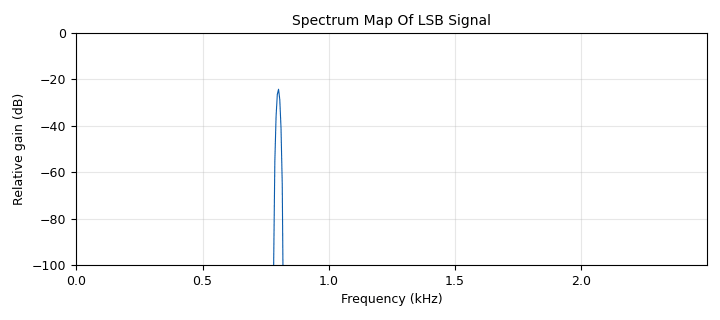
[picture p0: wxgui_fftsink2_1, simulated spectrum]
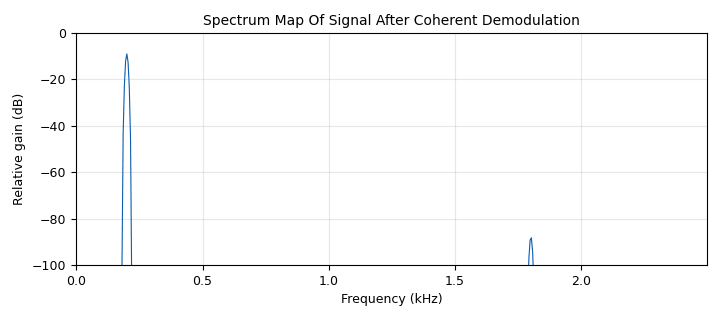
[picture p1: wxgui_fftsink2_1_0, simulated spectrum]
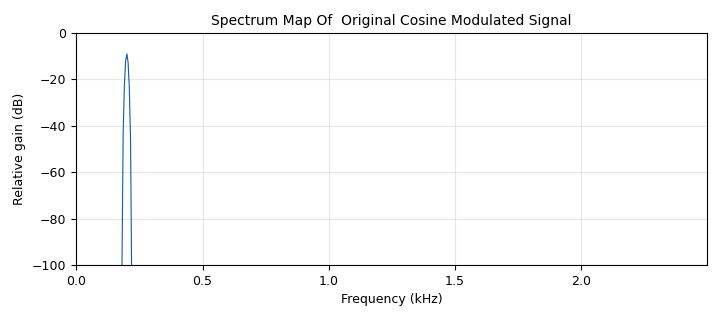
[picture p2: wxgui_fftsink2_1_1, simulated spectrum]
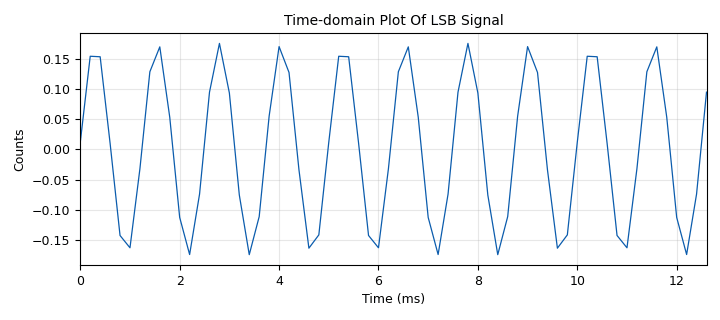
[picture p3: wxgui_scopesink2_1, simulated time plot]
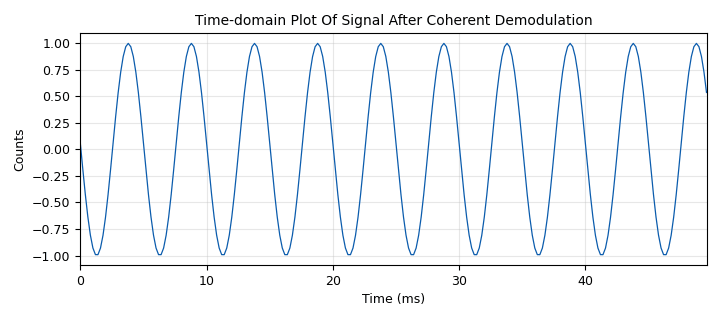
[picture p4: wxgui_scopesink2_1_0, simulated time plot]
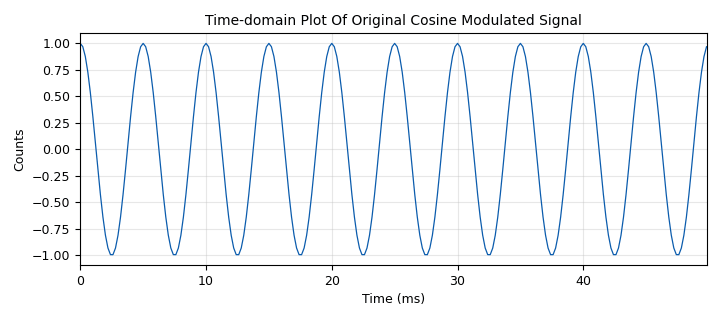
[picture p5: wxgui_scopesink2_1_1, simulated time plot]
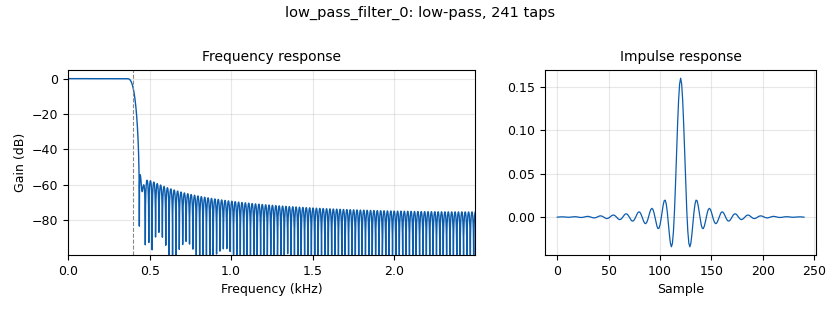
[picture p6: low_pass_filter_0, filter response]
<?xml version='1.0' encoding='utf-8'?>
<?grc format='1' created='3.7.9'?>
<flow_graph>
<block>
<key>options</key>
<param><key>id</key><value>LSB</value></param>
<param><key>category</key><value>Custom</value></param>
<param><key>generate_options</key><value>wx_gui</value></param>
</block>
<block>
<key>variable_slider</key>
<param><key>id</key><value>ac</value></param>
<param><key>converver</key><value>float_converter</value></param>
<param><key>value</key><value>0.35</value></param>
<param><key>label</key><value></value></param>
<param><key>max</key><value>1</value></param>
<param><key>min</key><value>0</value></param>
<param><key>num_steps</key><value>1000</value></param>
<param><key>style</key><value>wx.SL_HORIZONTAL</value></param>
</block>
<block>
<key>variable</key>
<param><key>id</key><value>samp_rate</value></param>
<param><key>value</key><value>5000</value></param>
</block>
<block>
<key>analog_sig_source_x</key>
<param><key>id</key><value>Hilbert</value></param>
<param><key>amp</key><value>1</value></param>
<param><key>freq</key><value>200</value></param>
<param><key>offset</key><value>0</value></param>
<param><key>type</key><value>float</value></param>
<param><key>samp_rate</key><value>samp_rate</value></param>
<param><key>waveform</key><value>analog.GR_SIN_WAVE</value></param>
</block>
<block>
<key>blocks_add_xx</key>
<param><key>id</key><value>blocks_add_xx_0</value></param>
<param><key>type</key><value>float</value></param>
</block>
<block>
<key>blocks_multiply_const_vxx</key>
<param><key>id</key><value>blocks_multiply_const_vxx_0</value></param>
<param><key>const</key><value>0.5</value></param>
<param><key>type</key><value>float</value></param>
</block>
<block>
<key>blocks_multiply_const_vxx</key>
<param><key>id</key><value>blocks_multiply_const_vxx_0_0</value></param>
<param><key>const</key><value>0.5</value></param>
<param><key>type</key><value>float</value></param>
</block>
<block>
<key>blocks_multiply_const_vxx</key>
<param><key>id</key><value>blocks_multiply_const_vxx_1</value></param>
<param><key>const</key><value>ac</value></param>
<param><key>type</key><value>float</value></param>
</block>
<block>
<key>blocks_multiply_const_vxx</key>
<param><key>id</key><value>blocks_multiply_const_vxx_1_0</value></param>
<param><key>const</key><value>ac</value></param>
<param><key>type</key><value>float</value></param>
</block>
<block>
<key>blocks_multiply_const_vxx</key>
<param><key>id</key><value>blocks_multiply_const_vxx_1_1</value></param>
<param><key>const</key><value>4</value></param>
<param><key>type</key><value>float</value></param>
</block>
<block>
<key>blocks_multiply_const_vxx</key>
<param><key>id</key><value>blocks_multiply_const_vxx_1_2</value></param>
<param><key>const</key><value>1/ac</value></param>
<param><key>type</key><value>float</value></param>
</block>
<block>
<key>blocks_multiply_xx</key>
<param><key>id</key><value>blocks_multiply_xx_0</value></param>
<param><key>type</key><value>float</value></param>
</block>
<block>
<key>blocks_multiply_xx</key>
<param><key>id</key><value>blocks_multiply_xx_0_0</value></param>
<param><key>type</key><value>float</value></param>
</block>
<block>
<key>blocks_multiply_xx</key>
<param><key>id</key><value>blocks_multiply_xx_0_1</value></param>
<param><key>type</key><value>float</value></param>
</block>
<block>
<key>blocks_throttle</key>
<param><key>id</key><value>blocks_throttle_0</value></param>
<param><key>samples_per_second</key><value>samp_rate</value></param>
<param><key>type</key><value>float</value></param>
</block>
<block>
<key>analog_sig_source_x</key>
<param><key>id</key><value>carrier_wave</value></param>
<param><key>amp</key><value>1</value></param>
<param><key>freq</key><value>1000</value></param>
<param><key>offset</key><value>0</value></param>
<param><key>type</key><value>float</value></param>
<param><key>samp_rate</key><value>samp_rate</value></param>
<param><key>waveform</key><value>analog.GR_COS_WAVE</value></param>
</block>
<block>
<key>analog_sig_source_x</key>
<param><key>id</key><value>carrier_wave_0</value></param>
<param><key>amp</key><value>1</value></param>
<param><key>freq</key><value>1000</value></param>
<param><key>offset</key><value>0</value></param>
<param><key>type</key><value>float</value></param>
<param><key>samp_rate</key><value>samp_rate</value></param>
<param><key>waveform</key><value>analog.GR_COS_WAVE</value></param>
</block>
<block>
<key>analog_sig_source_x</key>
<param><key>id</key><value>carrier_wave_sin</value></param>
<param><key>amp</key><value>1</value></param>
<param><key>freq</key><value>1000</value></param>
<param><key>offset</key><value>0</value></param>
<param><key>type</key><value>float</value></param>
<param><key>samp_rate</key><value>samp_rate</value></param>
<param><key>waveform</key><value>analog.GR_SIN_WAVE</value></param>
</block>
<block>
<key>notebook</key>
<param><key>id</key><value>fig</value></param>
<param><key>labels</key><value>['tab1', 'tab2', 'tab3', 'tab4' ,'tab5', 'tab6']</value></param>
<param><key>style</key><value>wx.NB_TOP</value></param>
</block>
<block>
<key>low_pass_filter</key>
<param><key>id</key><value>low_pass_filter_0</value></param>
<param><key>cutoff_freq</key><value>400</value></param>
<param><key>decim</key><value>1</value></param>
<param><key>type</key><value>fir_filter_fff</value></param>
<param><key>gain</key><value>1</value></param>
<param><key>samp_rate</key><value>samp_rate</value></param>
<param><key>width</key><value>50</value></param>
<param><key>win</key><value>firdes.WIN_HAMMING</value></param>
</block>
<block>
<key>analog_sig_source_x</key>
<param><key>id</key><value>modulating_signal</value></param>
<param><key>amp</key><value>1</value></param>
<param><key>freq</key><value>200</value></param>
<param><key>offset</key><value>0</value></param>
<param><key>type</key><value>float</value></param>
<param><key>samp_rate</key><value>samp_rate</value></param>
<param><key>waveform</key><value>analog.GR_COS_WAVE</value></param>
</block>
<block>
<key>wxgui_fftsink2</key>
<param><key>id</key><value>wxgui_fftsink2_1</value></param>
<param><key>avg_alpha</key><value>0</value></param>
<param><key>average</key><value>False</value></param>
<param><key>baseband_freq</key><value>0</value></param>
<param><key>fft_size</key><value>1024</value></param>
<param><key>freqvar</key><value>None</value></param>
<param><key>notebook</key><value>fig,2</value></param>
<param><key>peak_hold</key><value>False</value></param>
<param><key>ref_level</key><value>0</value></param>
<param><key>ref_scale</key><value>2.0</value></param>
<param><key>fft_rate</key><value>15</value></param>
<param><key>samp_rate</key><value>samp_rate</value></param>
<param><key>title</key><value>Spectrum Map Of LSB Signal</value></param>
<param><key>type</key><value>float</value></param>
<param><key>win</key><value>None</value></param>
<param><key>y_divs</key><value>10</value></param>
<param><key>y_per_div</key><value>10</value></param>
</block>
<block>
<key>wxgui_fftsink2</key>
<param><key>id</key><value>wxgui_fftsink2_1_0</value></param>
<param><key>avg_alpha</key><value>0</value></param>
<param><key>average</key><value>False</value></param>
<param><key>baseband_freq</key><value>0</value></param>
<param><key>fft_size</key><value>1024</value></param>
<param><key>freqvar</key><value>None</value></param>
<param><key>notebook</key><value>fig,4</value></param>
<param><key>peak_hold</key><value>False</value></param>
<param><key>ref_level</key><value>0</value></param>
<param><key>ref_scale</key><value>2.0</value></param>
<param><key>fft_rate</key><value>15</value></param>
<param><key>samp_rate</key><value>samp_rate</value></param>
<param><key>title</key><value>Spectrum Map Of Signal After Coherent Demodulation</value></param>
<param><key>type</key><value>float</value></param>
<param><key>win</key><value>None</value></param>
<param><key>y_divs</key><value>10</value></param>
<param><key>y_per_div</key><value>10</value></param>
</block>
<block>
<key>wxgui_fftsink2</key>
<param><key>id</key><value>wxgui_fftsink2_1_1</value></param>
<param><key>avg_alpha</key><value>0</value></param>
<param><key>average</key><value>False</value></param>
<param><key>baseband_freq</key><value>0</value></param>
<param><key>fft_size</key><value>1024</value></param>
<param><key>freqvar</key><value>None</value></param>
<param><key>notebook</key><value>fig,0</value></param>
<param><key>peak_hold</key><value>False</value></param>
<param><key>ref_level</key><value>0</value></param>
<param><key>ref_scale</key><value>2.0</value></param>
<param><key>fft_rate</key><value>15</value></param>
<param><key>samp_rate</key><value>samp_rate</value></param>
<param><key>title</key><value>Spectrum Map Of  Original Cosine Modulated Signal</value></param>
<param><key>type</key><value>float</value></param>
<param><key>win</key><value>None</value></param>
<param><key>y_divs</key><value>10</value></param>
<param><key>y_per_div</key><value>10</value></param>
</block>
<block>
<key>wxgui_scopesink2</key>
<param><key>id</key><value>wxgui_scopesink2_1</value></param>
<param><key>ac_couple</key><value>False</value></param>
<param><key>notebook</key><value>fig,3</value></param>
<param><key>num_inputs</key><value>1</value></param>
<param><key>samp_rate</key><value>samp_rate</value></param>
<param><key>t_scale</key><value>0</value></param>
<param><key>title</key><value>Time-domain Plot Of LSB Signal</value></param>
<param><key>trig_mode</key><value>wxgui.TRIG_MODE_STRIPCHART</value></param>
<param><key>type</key><value>float</value></param>
<param><key>v_offset</key><value>0</value></param>
<param><key>v_scale</key><value>0</value></param>
<param><key>xy_mode</key><value>False</value></param>
<param><key>y_axis_label</key><value>Counts</value></param>
</block>
<block>
<key>wxgui_scopesink2</key>
<param><key>id</key><value>wxgui_scopesink2_1_0</value></param>
<param><key>ac_couple</key><value>False</value></param>
<param><key>notebook</key><value>fig,5</value></param>
<param><key>num_inputs</key><value>1</value></param>
<param><key>samp_rate</key><value>samp_rate</value></param>
<param><key>t_scale</key><value>0</value></param>
<param><key>title</key><value>Time-domain Plot Of Signal After Coherent Demodulation</value></param>
<param><key>trig_mode</key><value>wxgui.TRIG_MODE_STRIPCHART</value></param>
<param><key>type</key><value>float</value></param>
<param><key>v_offset</key><value>0</value></param>
<param><key>v_scale</key><value>0</value></param>
<param><key>xy_mode</key><value>False</value></param>
<param><key>y_axis_label</key><value>Counts</value></param>
</block>
<block>
<key>wxgui_scopesink2</key>
<param><key>id</key><value>wxgui_scopesink2_1_1</value></param>
<param><key>ac_couple</key><value>False</value></param>
<param><key>notebook</key><value>fig,1</value></param>
<param><key>num_inputs</key><value>1</value></param>
<param><key>samp_rate</key><value>samp_rate</value></param>
<param><key>t_scale</key><value>0</value></param>
<param><key>title</key><value>Time-domain Plot Of Original Cosine Modulated Signal</value></param>
<param><key>trig_mode</key><value>wxgui.TRIG_MODE_STRIPCHART</value></param>
<param><key>type</key><value>float</value></param>
<param><key>v_offset</key><value>0</value></param>
<param><key>v_scale</key><value>0</value></param>
<param><key>xy_mode</key><value>False</value></param>
<param><key>y_axis_label</key><value>Counts</value></param>
</block>
<connection><source_block_id>Hilbert</source_block_id><sink_block_id>blocks_multiply_xx_0_0</sink_block_id><source_key>0</source_key><sink_key>0</sink_key></connection>
<connection><source_block_id>blocks_add_xx_0</source_block_id><sink_block_id>blocks_throttle_0</sink_block_id><source_key>0</source_key><sink_key>0</sink_key></connection>
<connection><source_block_id>blocks_multiply_const_vxx_0</source_block_id><sink_block_id>blocks_multiply_const_vxx_1</sink_block_id><source_key>0</source_key><sink_key>0</sink_key></connection>
<connection><source_block_id>blocks_multiply_const_vxx_0_0</source_block_id><sink_block_id>blocks_multiply_const_vxx_1_0</sink_block_id><source_key>0</source_key><sink_key>0</sink_key></connection>
<connection><source_block_id>blocks_multiply_const_vxx_1</source_block_id><sink_block_id>blocks_multiply_xx_0</sink_block_id><source_key>0</source_key><sink_key>0</sink_key></connection>
<connection><source_block_id>blocks_multiply_const_vxx_1_0</source_block_id><sink_block_id>blocks_multiply_xx_0_0</sink_block_id><source_key>0</source_key><sink_key>1</sink_key></connection>
<connection><source_block_id>blocks_multiply_const_vxx_1_1</source_block_id><sink_block_id>blocks_multiply_const_vxx_1_2</sink_block_id><source_key>0</source_key><sink_key>0</sink_key></connection>
<connection><source_block_id>blocks_multiply_const_vxx_1_2</source_block_id><sink_block_id>wxgui_fftsink2_1_0</sink_block_id><source_key>0</source_key><sink_key>0</sink_key></connection>
<connection><source_block_id>blocks_multiply_const_vxx_1_2</source_block_id><sink_block_id>wxgui_scopesink2_1_0</sink_block_id><source_key>0</source_key><sink_key>0</sink_key></connection>
<connection><source_block_id>blocks_multiply_xx_0</source_block_id><sink_block_id>blocks_add_xx_0</sink_block_id><source_key>0</source_key><sink_key>0</sink_key></connection>
<connection><source_block_id>blocks_multiply_xx_0_0</source_block_id><sink_block_id>blocks_add_xx_0</sink_block_id><source_key>0</source_key><sink_key>1</sink_key></connection>
<connection><source_block_id>blocks_multiply_xx_0_1</source_block_id><sink_block_id>low_pass_filter_0</sink_block_id><source_key>0</source_key><sink_key>0</sink_key></connection>
<connection><source_block_id>blocks_throttle_0</source_block_id><sink_block_id>blocks_multiply_xx_0_1</sink_block_id><source_key>0</source_key><sink_key>0</sink_key></connection>
<connection><source_block_id>blocks_throttle_0</source_block_id><sink_block_id>wxgui_fftsink2_1</sink_block_id><source_key>0</source_key><sink_key>0</sink_key></connection>
<connection><source_block_id>blocks_throttle_0</source_block_id><sink_block_id>wxgui_scopesink2_1</sink_block_id><source_key>0</source_key><sink_key>0</sink_key></connection>
<connection><source_block_id>carrier_wave</source_block_id><sink_block_id>blocks_multiply_xx_0</sink_block_id><source_key>0</source_key><sink_key>1</sink_key></connection>
<connection><source_block_id>carrier_wave_0</source_block_id><sink_block_id>blocks_multiply_xx_0_1</sink_block_id><source_key>0</source_key><sink_key>1</sink_key></connection>
<connection><source_block_id>carrier_wave_sin</source_block_id><sink_block_id>blocks_multiply_const_vxx_0_0</sink_block_id><source_key>0</source_key><sink_key>0</sink_key></connection>
<connection><source_block_id>low_pass_filter_0</source_block_id><sink_block_id>blocks_multiply_const_vxx_1_1</sink_block_id><source_key>0</source_key><sink_key>0</sink_key></connection>
<connection><source_block_id>modulating_signal</source_block_id><sink_block_id>blocks_multiply_const_vxx_0</sink_block_id><source_key>0</source_key><sink_key>0</sink_key></connection>
<connection><source_block_id>modulating_signal</source_block_id><sink_block_id>wxgui_fftsink2_1_1</sink_block_id><source_key>0</source_key><sink_key>0</sink_key></connection>
<connection><source_block_id>modulating_signal</source_block_id><sink_block_id>wxgui_scopesink2_1_1</sink_block_id><source_key>0</source_key><sink_key>0</sink_key></connection>
</flow_graph>
